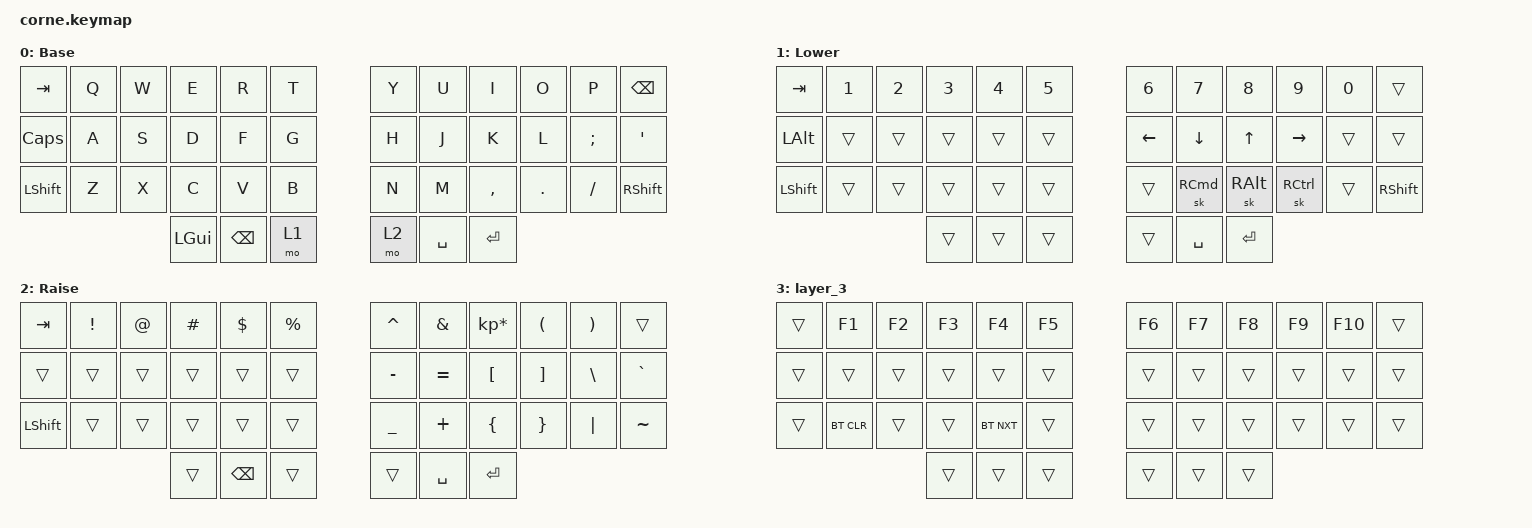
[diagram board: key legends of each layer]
/*
 * Copyright (c) 2020 The ZMK Contributors
 *
 * SPDX-License-Identifier: MIT
 */

#include <behaviors.dtsi>
#include <dt-bindings/zmk/bt.h>
#include <dt-bindings/zmk/keys.h>

/ {
    keymap {
        compatible = "zmk,keymap";

        default_layer {
            // -----------------------------------------------------------------------------------------
            // |  TAB |  Q  |  W  |  E  |  R  |  T  |   |  Y  |  U   |  I  |  O  |  P  | BKSP |
            // | CTRL |  A  |  S  |  D  |  F  |  G  |   |  H  |  J   |  K  |  L  |  ;  |  '   |
            // | SHFT |  Z  |  X  |  C  |  V  |  B  |   |  N  |  M   |  ,  |  .  |  /  | ESC  |
            //                    | GUI | LWR | SPC |   | ENT | RSE  | ALT |

            display-name = "Base";
            bindings = <
&kp TAB       &kp Q  &kp W  &kp E         &kp R          &kp T    &kp Y  &kp U      &kp I      &kp O    &kp P     &kp BSPC
&kp CAPSLOCK  &kp A  &kp S  &kp D         &kp F          &kp G    &kp H  &kp J      &kp K      &kp L    &kp SEMI  &kp SQT
&kp LSHFT     &kp Z  &kp X  &kp C         &kp V          &kp B    &kp N  &kp M      &kp COMMA  &kp DOT  &kp FSLH  &kp RSHIFT
                            &kp LEFT_GUI  &kp BACKSPACE  &mo 1    &mo 2  &kp SPACE  &kp ENTER
            >;
        };

        lower_layer {
            // -----------------------------------------------------------------------------------------
            // |  TAB |  1  |  2  |  3  |  4  |  5  |   |  6  |  7  |  8  |  9  |  0  | BKSP |
            // | BTCLR| BT1 | BT2 | BT3 | BT4 | BT5 |   | LFT | DWN |  UP | RGT |     |      |
            // | SHFT |     |     |     |     |     |   |     |     |     |     |     |      |
            //                    | GUI |     | SPC |   | ENT |     | ALT |

            display-name = "Lower";
            bindings = <
&kp TAB       &kp N1  &kp N2  &kp N3  &kp N4  &kp N5    &kp N6    &kp N7             &kp N8         &kp N9             &kp N0  &trans
&kp LEFT_ALT  &trans  &trans  &trans  &trans  &trans    &kp LEFT  &kp DOWN           &kp UP         &kp RIGHT          &trans  &trans
&kp LSHFT     &trans  &trans  &trans  &trans  &trans    &trans    &sk RIGHT_COMMAND  &sk RIGHT_ALT  &sk RIGHT_CONTROL  &trans  &kp RIGHT_SHIFT
                              &trans  &trans  &trans    &trans    &kp SPACE          &kp ENTER
            >;
        };

        raise_layer {
            // -----------------------------------------------------------------------------------------
            // |  TAB |  !  |  @  |  #  |  $  |  %  |   |  ^  |  &  |  *  |  (  |  )  | BKSP |
            // | CTRL |     |     |     |     |     |   |  -  |  =  |  [  |  ]  |  \  |  `   |
            // | SHFT |     |     |     |     |     |   |  _  |  +  |  {  |  }  | "|" |  ~   |
            //                    | GUI |     | SPC |   | ENT |     | ALT |

            display-name = "Raise";
            bindings = <
&kp TAB    &kp EXCL  &kp AT  &kp HASH  &kp DLLR       &kp PRCNT    &kp CARET  &kp AMPS   &kp KP_MULTIPLY  &kp LPAR  &kp RPAR  &trans
&trans     &trans    &trans  &trans    &trans         &trans       &kp MINUS  &kp EQUAL  &kp LBKT         &kp RBKT  &kp BSLH  &kp GRAVE
&kp LSHFT  &trans    &trans  &trans    &trans         &trans       &kp UNDER  &kp PLUS   &kp LBRC         &kp RBRC  &kp PIPE  &kp TILDE
                             &trans    &kp BACKSPACE  &trans       &trans     &kp SPACE  &kp ENTER
            >;
        };

        layer_3 {
            bindings = <
&trans  &kp F1      &kp F2  &kp F3  &kp F4      &kp F5    &kp F6  &kp F7  &kp F8  &kp F9  &kp F10  &trans
&trans  &trans      &trans  &trans  &trans      &trans    &trans  &trans  &trans  &trans  &trans   &trans
&trans  &bt BT_CLR  &trans  &trans  &bt BT_NXT  &trans    &trans  &trans  &trans  &trans  &trans   &trans
                            &trans  &trans      &trans    &trans  &trans  &trans
            >;
        };
    };

    conditional_layers {
        compatible = "zmk,conditional-layers";

        TriLayer {
            if-layers = <1 2>;
            then-layer = <3>;
        };
    };
};
